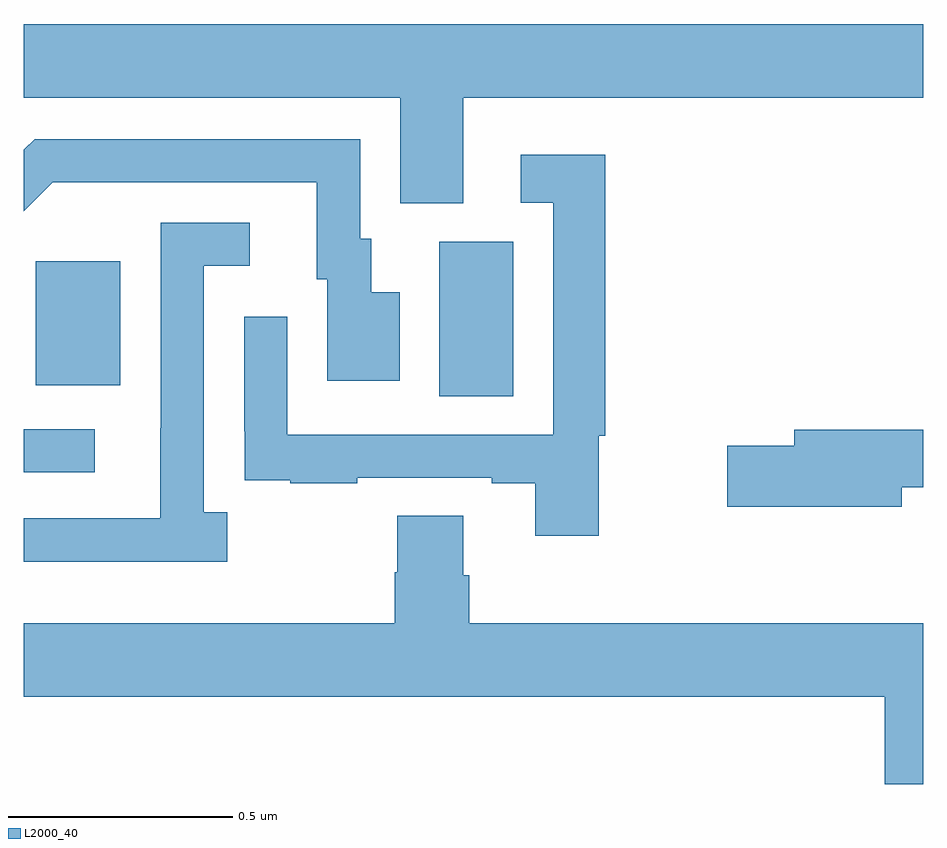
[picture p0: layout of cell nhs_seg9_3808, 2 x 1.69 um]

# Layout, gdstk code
import gdstk
lib = gdstk.Library(unit=1e-6, precision=1e-09)
def R(c, l, rs):  # rectangles x0, y0, x1, y1
    for r in rs: c.add(gdstk.rectangle(r[:2], r[2:], *l))
def P(c, l, *ps):  # polygons
    for p in ps: c.add(gdstk.Polygon(p, *l))
L2000_40 = (2000, 40)

nhs_seg9_3808 = lib.new_cell('nhs_seg9_3808')
R(nhs_seg9_3808, L2000_40, [(158,1202.247,158.158,1202.343), (158.924,1202.416,159.088,1202.76), (158.027,1202.441,158.215,1202.716)])
P(nhs_seg9_3808, L2000_40, [(158.977,1203.08),(160,1203.08),(160,1203.244),(158,1203.244),(158,1203.08),(158.837,1203.08),(158.837,1202.845),(158.977,1202.845)],
  [(158.836,1202.647),(158.773,1202.647),(158.773,1202.766),(158.748,1202.766),(158.748,1202.988),(158.024,1202.988),(158,1202.964),(158,1202.828),(158.064,1202.892),(158.651,1202.892),(158.651,1202.676),(158.675,1202.676),(158.675,1202.451),(158.836,1202.451)],
  [(159.278,1202.328),(159.293,1202.328),(159.293,1202.953),(159.105,1202.953),(159.105,1202.847),(159.177,1202.847),(159.177,1202.331),(158.586,1202.331),(158.586,1202.593),(158.49,1202.593),(158.49,1202.338),(158.491,1202.338),(158.491,1202.229),(158.593,1202.229),(158.593,1202.223),(158.741,1202.223),(158.741,1202.235),(159.041,1202.235),(159.041,1202.223),(159.137,1202.223),(159.137,1202.106),(159.278,1202.106)],
  [(158.452,1202.158),(158.4,1202.158),(158.4,1202.706),(158.503,1202.706),(158.503,1202.802),(158.304,1202.802),(158.304,1202.345),(158.303,1202.345),(158.303,1202.145),(158,1202.145),(158,1202.048),(158.452,1202.048)],
  [(159.952,1202.214),(160,1202.214),(160,1202.342),(159.713,1202.342),(159.713,1202.306),(159.564,1202.306),(159.564,1202.171),(159.952,1202.171)],
  [(160,1201.912),(158.99,1201.912),(158.99,1202.018),(158.977,1202.018),(158.977,1202.15),(158.83,1202.15),(158.83,1202.025),(158.825,1202.025),(158.825,1201.912),(158,1201.912),(158,1201.748),(159.914,1201.748),(159.914,1201.554),(160,1201.554)])

lib.write_gds('nhs_seg9_3808.gds')
